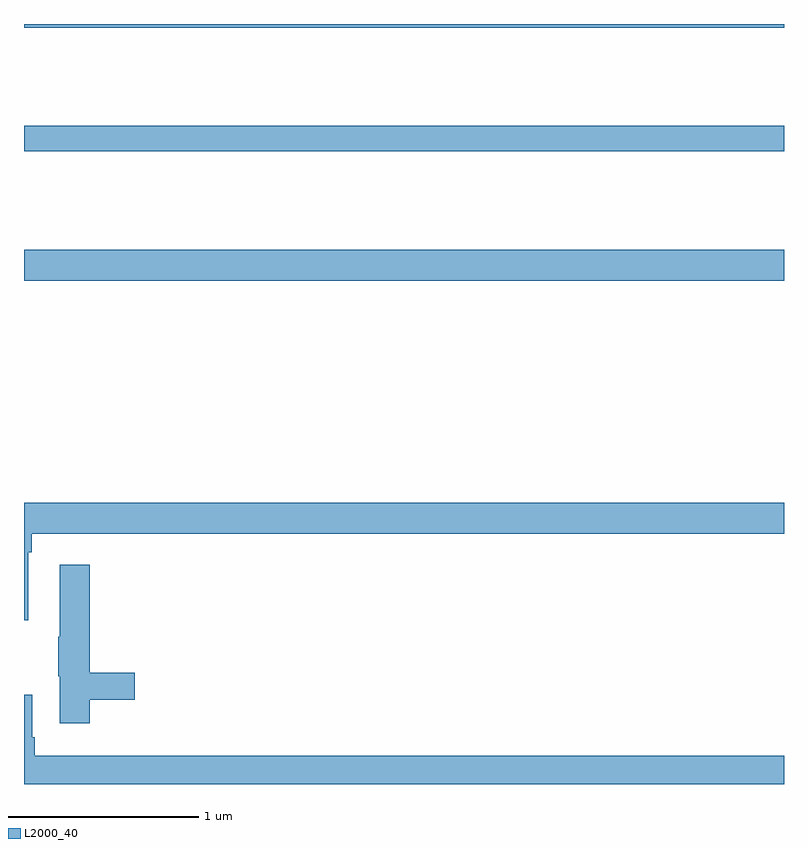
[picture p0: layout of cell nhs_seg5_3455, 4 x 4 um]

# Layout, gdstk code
import gdstk
lib = gdstk.Library(unit=1e-6, precision=1e-09)
def R(c, l, rs):  # rectangles x0, y0, x1, y1
    for r in rs: c.add(gdstk.rectangle(r[:2], r[2:], *l))
def P(c, l, *ps):  # polygons
    for p in ps: c.add(gdstk.Polygon(p, *l))
L2000_40 = (2000, 40)

nhs_seg5_3455 = lib.new_cell('nhs_seg5_3455')
R(nhs_seg5_3455, L2000_40, [(315,835.448,319,835.612), (315,836.128,319,836.264), (315,836.78,319,836.799)])
P(nhs_seg5_3455, L2000_40, [(315.022,834.02),(315.041,834.02),(315.041,834.116),(319,834.116),(319,834.28),(315,834.28),(315,833.661),(315.022,833.661)],
  [(315.347,833.242),(315.583,833.242),(315.583,833.384),(315.347,833.384),(315.347,833.953),(315.188,833.953),(315.188,833.573),(315.181,833.573),(315.181,833.367),(315.188,833.367),(315.188,833.118),(315.347,833.118)],
  [(319,832.948),(315.056,832.948),(315.056,833.044),(315.043,833.044),(315.043,833.269),(315,833.269),(315,832.799),(319,832.799)])

lib.write_gds('nhs_seg5_3455.gds')
